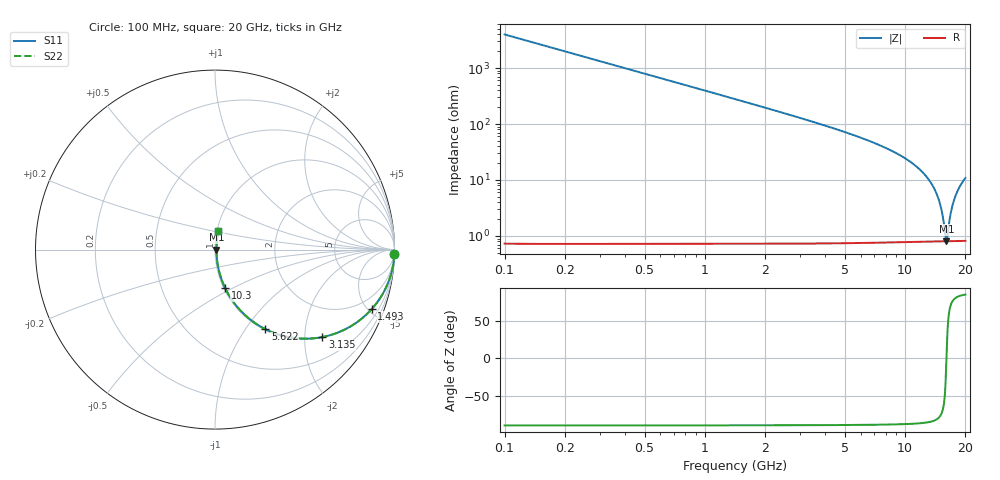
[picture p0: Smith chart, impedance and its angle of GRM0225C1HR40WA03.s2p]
!Murata Part Number: GRM0225C1HR40WA03
!These Parameters are Measured in Series Mode Connection
!Data Generated on Mar 30, 2021
!  o--ll--o
!Port1  Port2
!  o------o
!Operation Temp=25[degC], DC Bias Voltage=0[V]
!Freq. Start=100[MHz] Stop=20[GHz] 401[Steps]
# Hz S RI R 50
!Freq.(Hz) S11(Real) S11(Imag) S21(Real) S21(Imag) S12(Real) S12(Imag) S22(Real) S22(Imag)
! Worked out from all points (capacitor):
!   401 points, 100 MHz to 20 GHz, reference 50 ohm
!   read as one part in series: C = 400 fF near 199.5 MHz
!   lowest |Z| = 808 mohm at 16.07 GHz (marker M1)
!   series resonance near 16.09 GHz, so ESL is about 240 pH
!   S11 on the Smith chart (normalised r, x): 100 MHz: 1, -80; 1.493 GHz: 1.01, -5.28; 3.135 GHz: 1.01, -2.44; 5.622 GHz: 1.01, -1.24; 10.3 GHz: 1.02, -0.46; 20 GHz: 1.02, +0.22
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1e8  0.9994 -0.0251  0.000636 0.0251  0.000636 0.0251  0.9994 -0.0251
3.4875e8  0.9923 -0.087  0.00769 0.087  0.00769 0.087  0.9923 -0.087
5.975e8  0.9777 -0.147  0.0223 0.147  0.0223 0.147  0.9777 -0.147
9.955e8  0.9403 -0.2361  0.0597 0.2361  0.0597 0.2361  0.9403 -0.2361
1.493e9  0.874 -0.3305  0.126 0.3305  0.126 0.3305  0.874 -0.3305
3.13475e9  0.5979 -0.4873  0.4021 0.4873  0.4021 0.4873  0.5979 -0.4873
3.43325e9  0.5499 -0.4942  0.4501 0.4942  0.4501 0.4942  0.5499 -0.4942
5.62225e9  0.2807 -0.4434  0.7193 0.4434  0.7193 0.4434  0.2807 -0.4434
6.7665e9  0.1934 -0.3872  0.8066 0.3872  0.8066 0.3872  0.1934 -0.3872
1.005e10  0.0615 -0.2246  0.9385 0.2246  0.9385 0.2246  0.0615 -0.2246
1.029875e10  0.0559 -0.2134  0.9441 0.2134  0.9441 0.2134  0.0559 -0.2134
1.338325e10  0.016 -0.0893  0.984 0.0893  0.984 0.0893  0.016 -0.0893
1.427875e10  0.0113 -0.0579  0.9887 0.0579  0.9887 0.0579  0.0113 -0.0579
1.497525e10  0.00918 -0.0348  0.9908 0.0348  0.9908 0.0348  0.00918 -0.0348
1.5423e10  0.0084 -0.0205  0.9916 0.0205  0.9916 0.0205  0.0084 -0.0205
1.59205e10  0.00802 -0.00508  0.992 0.00508  0.992 0.00508  0.00802 -0.00508
1.606975e10  0.008 -0.000543  0.992 0.000543  0.992 0.000543  0.008 -0.000543
1.6219e10  0.00802 0.00395  0.992 -0.00395  0.992 -0.00395  0.00802 0.00395
1.67165e10  0.00837 0.0186  0.9916 -0.0186  0.9916 -0.0186  0.00837 0.0186
1.7214e10  0.00912 0.0329  0.9909 -0.0329  0.9909 -0.0329  0.00912 0.0329
1.79105e10  0.0108 0.0521  0.9892 -0.0521  0.9892 -0.0521  0.0108 0.0521
2e10  0.0194 0.1054  0.9806 -0.1054  0.9806 -0.1054  0.0194 0.1054
